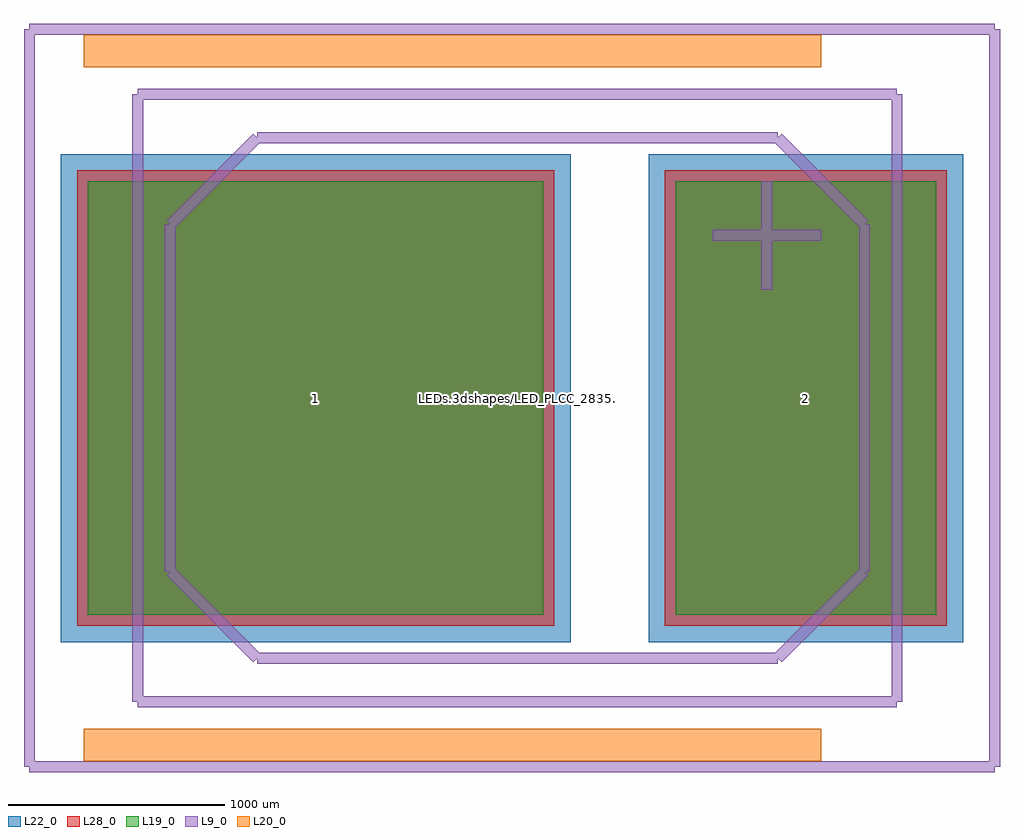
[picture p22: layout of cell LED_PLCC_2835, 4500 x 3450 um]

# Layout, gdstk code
import gdstk
lib = gdstk.Library(unit=1e-6, precision=1e-09)
def R(c, l, rs):  # rectangles x0, y0, x1, y1
    for r in rs: c.add(gdstk.rectangle(r[:2], r[2:], *l))
L9_0 = (9, 0)
L19_0 = (19, 0)
L20_0 = (20, 0)
L22_0 = (22, 0)
L28_0 = (28, 0)

led_plcc_2835 = lib.new_cell('LED_PLCC_2835')
R(led_plcc_2835, L19_0, [(-1979.882,-999.906,120.118,1000.094), (730.118,-999.906,1930.118,1000.094)])
R(led_plcc_2835, L22_0, [(-2104.882,-1124.906,245.118,1125.094), (605.118,-1124.906,2055.118,1125.094)])
R(led_plcc_2835, L28_0, [(-2029.882,-1049.906,170.118,1050.094), (680.118,-1049.906,1980.118,1050.094)])
led_plcc_2835.add(gdstk.FlexPath([(1750.118,-1399.906),(-1749.882,-1399.906)], 50, ends="flush", simple_path=True, layer=9, datatype=0))  # L9_0
led_plcc_2835.add(gdstk.FlexPath([(-1749.882,-1399.906),(-1749.882,1400.094)], 50, ends="flush", simple_path=True, layer=9, datatype=0))  # L9_0
led_plcc_2835.add(gdstk.FlexPath([(-1749.882,1400.094),(1750.118,1400.094)], 50, ends="flush", simple_path=True, layer=9, datatype=0))  # L9_0
led_plcc_2835.add(gdstk.FlexPath([(1750.118,1400.094),(1750.118,-1399.906)], 50, ends="flush", simple_path=True, layer=9, datatype=0))  # L9_0
led_plcc_2835.add(gdstk.FlexPath([(1600.118,0.094),(1600.118,-799.906)], 50, ends="flush", simple_path=True, layer=9, datatype=0))  # L9_0
led_plcc_2835.add(gdstk.FlexPath([(1600.118,-799.906),(1200.118,-1199.906)], 50, ends="flush", simple_path=True, layer=9, datatype=0))  # L9_0
led_plcc_2835.add(gdstk.FlexPath([(1200.118,-1199.906),(-1199.882,-1199.906)], 50, ends="flush", simple_path=True, layer=9, datatype=0))  # L9_0
led_plcc_2835.add(gdstk.FlexPath([(-1199.882,-1199.906),(-1599.882,-799.906)], 50, ends="flush", simple_path=True, layer=9, datatype=0))  # L9_0
led_plcc_2835.add(gdstk.FlexPath([(-1599.882,-799.906),(-1599.882,800.094)], 50, ends="flush", simple_path=True, layer=9, datatype=0))  # L9_0
led_plcc_2835.add(gdstk.FlexPath([(-1599.882,800.094),(-1199.882,1200.094)], 50, ends="flush", simple_path=True, layer=9, datatype=0))  # L9_0
led_plcc_2835.add(gdstk.FlexPath([(-1199.882,1200.094),(1200.118,1200.094)], 50, ends="flush", simple_path=True, layer=9, datatype=0))  # L9_0
led_plcc_2835.add(gdstk.FlexPath([(1200.118,1200.094),(1600.118,800.094)], 50, ends="flush", simple_path=True, layer=9, datatype=0))  # L9_0
led_plcc_2835.add(gdstk.FlexPath([(1600.118,800.094),(1600.118,0.094)], 50, ends="flush", simple_path=True, layer=9, datatype=0))  # L9_0
led_plcc_2835.add(gdstk.FlexPath([(1400.118,-1599.906),(-1999.882,-1599.906)], 149.998, ends="flush", simple_path=True, layer=20, datatype=0))  # L20_0
led_plcc_2835.add(gdstk.FlexPath([(1400.118,1600.094),(-1999.882,1600.094)], 149.998, ends="flush", simple_path=True, layer=20, datatype=0))  # L20_0
led_plcc_2835.add(gdstk.FlexPath([(2200.118,-1699.906),(-2249.882,-1699.906)], 50, ends="flush", simple_path=True, layer=9, datatype=0))  # L9_0
led_plcc_2835.add(gdstk.FlexPath([(-2249.882,-1699.906),(-2249.882,1700.094)], 50, ends="flush", simple_path=True, layer=9, datatype=0))  # L9_0
led_plcc_2835.add(gdstk.FlexPath([(-2249.882,1700.094),(2200.118,1700.094)], 50, ends="flush", simple_path=True, layer=9, datatype=0))  # L9_0
led_plcc_2835.add(gdstk.FlexPath([(2200.118,1700.094),(2200.118,-1699.906)], 50, ends="flush", simple_path=True, layer=9, datatype=0))  # L9_0
led_plcc_2835.add(gdstk.FlexPath([(1150,500),(1150,1000)], 50, ends="flush", simple_path=True, layer=9, datatype=0))  # L9_0
led_plcc_2835.add(gdstk.FlexPath([(1400,750),(900,750)], 50, ends="flush", simple_path=True, layer=9, datatype=0))  # L9_0
led_plcc_2835.add(gdstk.Label('LEDs.3dshapes/LED_PLCC_2835.wrl', (0,0), layer=12, texttype=0))
led_plcc_2835.add(gdstk.Label('2', (1330.118,0.094), layer=28, texttype=0))
led_plcc_2835.add(gdstk.Label('1', (-929.882,0.094), layer=28, texttype=0))
led_plcc_2835.add(gdstk.Label('type', (0,2450), layer=9, texttype=0))
led_plcc_2835.add(gdstk.Label('devicename', (20,-2600), layer=9, texttype=0))

lib.write_gds('LED_PLCC_2835.gds')
